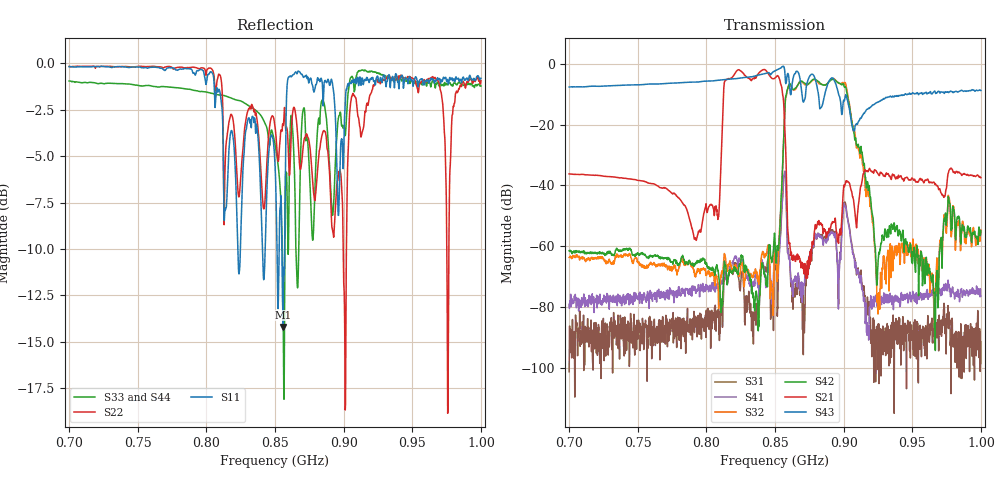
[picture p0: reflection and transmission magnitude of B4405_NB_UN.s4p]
! Matrix data file written by TouchstoneData, EPCOS AG
! FILENAME: "ansys_B4405_01_NB.s4p"
! COMMENT: "(B4405_01_NB.s4p) Epcos AG 2/4/2013 4:13:35"
! INFO: nport=4, nfreq=1601
! DATE: "Fri Feb 22 09:42:05 2013"
! USER: "Daniel Harbusch"
!port | pin | signal
!  1  |  3  |  TX Input
!  2  |  6  |  Antenna
!  3  |  8  |  RX output (balanced)
!  4  |  1  |  RX output (balanced)
# MHZ S MA R 50
! freq  magS11 angS11  magS12 angS12  magS13 angS13  magS14 angS14  ...
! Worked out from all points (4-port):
!   1601 points, 700 MHz to 1 GHz, reference 50 ohm
!   strongest paths, dB at 700 MHz, 775 MHz, 850 MHz, 925 MHz, 1 GHz:
!     S43: -7.6, -6.4, -2.3, -12.6, -8.8
!     S21: -36.2, -42.6, -4.7, -36.2, -37.5
!     S42: -61.5, -65.1, -58.4, -66.3, -54.9
!     S32: -63.7, -67.7, -62.3, -82.3, -54.7
!     S41: -79.1, -75.4, -61.9, -78.0, -76.4
!     S31: -101.3, -83.8, -64.4, -85.6, -98.6
!   lowest |S11| = -14.2 dB at 855.8 MHz (marker M1), VSWR 1.48, Z = 70.2 - j12.1 ohm
!   |S11| at or under -10 dB: 822.8846 MHz to 824.7584 MHz (1.874 MHz wide, 0.227 % of centre); 840.7809 MHz to 842.8635 MHz (2.083 MHz wide, 0.247 % of centre); 855.073 MHz to 857.0169 MHz (1.944 MHz wide, 0.227 % of centre) (the widest 3 of 4)
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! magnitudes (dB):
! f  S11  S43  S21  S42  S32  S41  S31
! 700 MHz  -0.2  -7.6  -36.2  -61.5  -63.7  -79.1  -101.3
! 792.4 MHz  -0.5  -6.0  -58.0  -65.4  -69.1  -75.5  -85.8
! 837.1 MHz  -3.6  -3.8  -3.8  -77.7  -70.7  -70.3  -79.0
! 855.8 MHz  -14.2  -0.8  -10.7  -31.2  -31.1  -41.4  -41.3
! 872.5 MHz  -0.7  -8.9  -66.7  -6.7  -6.8  -70.3  -73.1
! 925.2 MHz  -0.8  -12.5  -36.3  -64.4  -81.7  -77.6  -100.6
! 1 GHz  -0.8  -8.8  -37.5  -54.9  -54.7  -76.4  -98.6
